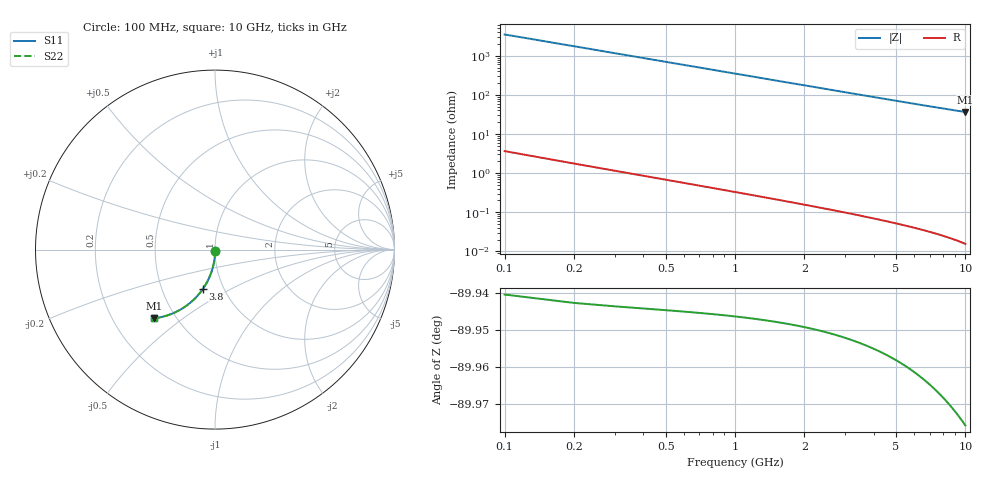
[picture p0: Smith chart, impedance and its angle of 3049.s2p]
# Hz S RI R 50.00
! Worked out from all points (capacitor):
!   100 points, 100 MHz to 10 GHz, reference 50 ohm
!   read as one part in shunt: C = 453 fF near 100 MHz
!   lowest |Z| = 36.6 ohm at 10 GHz (marker M1)
!   S11 on the Smith chart (normalised r, x): 100 MHz: 1.00, -0.01; 3.8 GHz: 0.80, -0.37; 10 GHz: 0.38, -0.40
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1e8  0.000838 -0.0062  0.999 -0.00803  0.999 -0.00803  0.000838 -0.0062
2e8  0.000688 -0.0124  0.9989 -0.0161  0.9989 -0.0161  0.000688 -0.0124
3e8  0.000437 -0.0186  0.9986 -0.0241  0.9986 -0.0241  0.000437 -0.0186
4e8  8.55e-05 -0.0248  0.9982 -0.0321  0.9982 -0.0321  8.55e-05 -0.0248
5e8  -0.000365 -0.0309  0.9978 -0.0401  0.9978 -0.0401  -0.000365 -0.0309
6e8  -0.000915 -0.0371  0.9972 -0.0481  0.9972 -0.0481  -0.000915 -0.0371
7e8  -0.00156 -0.0433  0.9965 -0.0561  0.9965 -0.0561  -0.00156 -0.0433
8e8  -0.00231 -0.0494  0.9957 -0.0641  0.9957 -0.0641  -0.00231 -0.0494
9e8  -0.00316 -0.0555  0.9949 -0.072  0.9949 -0.072  -0.00316 -0.0555
1.1e9  -0.00514 -0.0677  0.9928 -0.0879  0.9928 -0.0879  -0.00514 -0.0677
1.4e9  -0.00883 -0.0858  0.989 -0.1115  0.989 -0.1115  -0.00883 -0.0858
1.8e9  -0.0151 -0.1096  0.9825 -0.1426  0.9825 -0.1426  -0.0151 -0.1096
2.1e9  -0.0207 -0.127  0.9767 -0.1655  0.9767 -0.1655  -0.0207 -0.127
2.5e9  -0.0295 -0.1497  0.9676 -0.1955  0.9676 -0.1955  -0.0295 -0.1497
2.9e9  -0.0395 -0.1717  0.9571 -0.2248  0.9571 -0.2248  -0.0395 -0.1717
3.4e9  -0.0539 -0.1979  0.9422 -0.2602  0.9422 -0.2602  -0.0539 -0.1979
3.8e9  -0.0667 -0.2178  0.929 -0.2875  0.929 -0.2875  -0.0667 -0.2178
4.4e9  -0.0878 -0.2458  0.907 -0.3266  0.907 -0.3266  -0.0878 -0.2458
5.1e9  -0.1149 -0.2753  0.8787 -0.369  0.8787 -0.369  -0.1149 -0.2753
6.7e9  -0.1842 -0.3292  0.8061 -0.4527  0.8061 -0.4527  -0.1842 -0.3292
8.4e9  -0.2635 -0.366  0.7222 -0.5214  0.7222 -0.5214  -0.2635 -0.366
1e10  -0.3382 -0.3827  0.6422 -0.5687  0.6422 -0.5687  -0.3382 -0.3827
